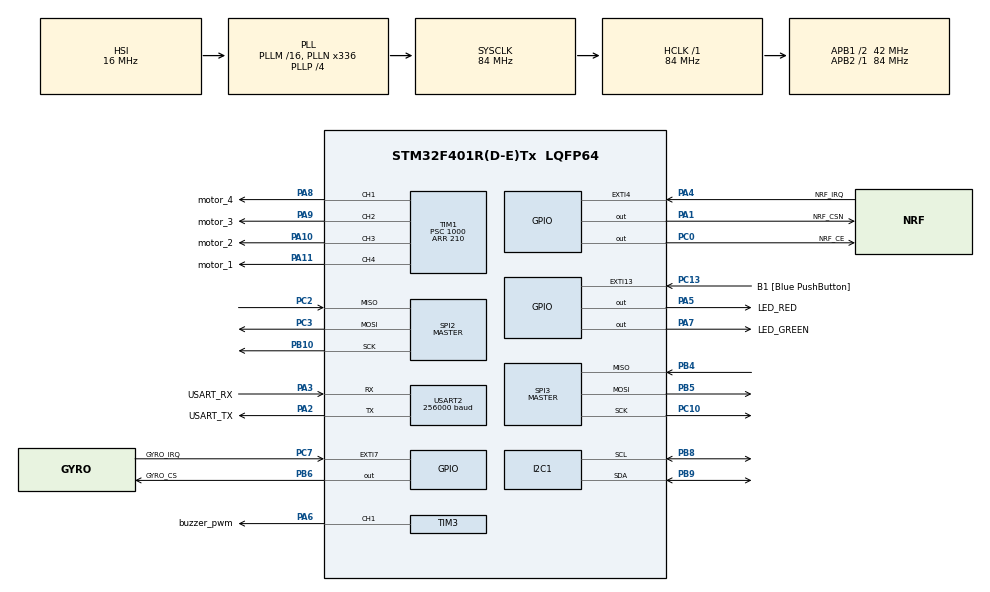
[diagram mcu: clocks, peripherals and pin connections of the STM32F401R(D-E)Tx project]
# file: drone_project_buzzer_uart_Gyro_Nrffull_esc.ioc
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Mcu.Family=STM32F4
Mcu.Name=STM32F401R(D-E)Tx
Mcu.Package=LQFP64
NVIC.EXTI4_IRQn=true\:0\:0\:false\:false\:true\:true\:true\:true
NVIC.EXTI9_5_IRQn=true\:0\:0\:false\:false\:true\:true\:true\:true
NVIC.PriorityGroup=NVIC_PRIORITYGROUP_0
NVIC.USART2_IRQn=true\:0\:0\:false\:false\:true\:true\:true\:true
PA1.GPIO_Label=NRF_CSN
PA1.Signal=GPIO_Output
PA10.GPIO_Label=motor_2
PA10.Signal=S_TIM1_CH3
PA11.GPIO_Label=motor_1
PA11.Signal=S_TIM1_CH4
PA13.GPIO_Label=TMS
PA13.Signal=SYS_JTMS-SWDIO
PA14.GPIO_Label=TCK
PA14.Signal=SYS_JTCK-SWCLK
PA2.GPIO_Label=USART_TX
PA2.GPIO_Mode=GPIO_MODE_AF_PP
PA2.GPIO_PuPd=GPIO_NOPULL
PA2.GPIO_Speed=GPIO_SPEED_FREQ_LOW
PA2.Mode=Asynchronous
PA2.Signal=USART2_TX
PA3.GPIO_Label=USART_RX
PA3.GPIO_Mode=GPIO_MODE_AF_PP
PA3.GPIO_PuPd=GPIO_NOPULL
PA3.GPIO_Speed=GPIO_SPEED_FREQ_LOW
PA3.Mode=Asynchronous
PA3.Signal=USART2_RX
PA4.GPIO_Label=NRF_IRQ
PA4.GPIO_ModeDefaultEXTI=GPIO_MODE_IT_FALLING
PA4.Signal=GPXTI4
PA5.GPIO_Label=LED_RED
PA5.GPIO_Mode=GPIO_MODE_OUTPUT_PP
PA5.GPIO_PuPd=GPIO_NOPULL
PA5.GPIO_Speed=GPIO_SPEED_FREQ_LOW
PA5.Signal=GPIO_Output
PA6.GPIO_Label=buzzer_pwm
PA6.Signal=S_TIM3_CH1
PA7.GPIO_Label=LED_GREEN
PA7.Signal=GPIO_Output
PA8.GPIO_Label=motor_4
PA8.Signal=S_TIM1_CH1
PA9.GPIO_Label=motor_3
PA9.Signal=S_TIM1_CH2
PB10.Mode=Full_Duplex_Master
PB10.Signal=SPI2_SCK
PB3.GPIO_Label=SWO
PB3.Signal=SYS_JTDO-SWO
PB4.Mode=Full_Duplex_Master
PB4.Signal=SPI3_MISO
PB5.Mode=Full_Duplex_Master
PB5.Signal=SPI3_MOSI
PB6.GPIO_Label=GYRO_CS
PB6.GPIO_PuPd=GPIO_NOPULL
PB6.Signal=GPIO_Output
PB8.Mode=I2C
PB8.Signal=I2C1_SCL
PB9.Mode=I2C
PB9.Signal=I2C1_SDA
PC0.GPIO_Label=NRF_CE
PC0.Signal=GPIO_Output
PC10.Mode=Full_Duplex_Master
PC10.Signal=SPI3_SCK
PC13-ANTI_TAMP.GPIO_Label=B1 [Blue PushButton]
PC13-ANTI_TAMP.GPIO_ModeDefaultEXTI=GPIO_MODE_IT_FALLING
PC13-ANTI_TAMP.GPIO_PuPd=GPIO_NOPULL
PC13-ANTI_TAMP.Signal=GPXTI13
PC14-OSC32_IN.Signal=RCC_OSC32_IN
PC15-OSC32_OUT.Signal=RCC_OSC32_OUT
PC2.Mode=Full_Duplex_Master
PC2.Signal=SPI2_MISO
PC3.Mode=Full_Duplex_Master
PC3.Signal=SPI2_MOSI
PC7.GPIO_Label=GYRO_IRQ
PC7.Signal=GPXTI7
PH0\ -\ OSC_IN.Signal=RCC_OSC_IN
PH1\ -\ OSC_OUT.Signal=RCC_OSC_OUT
ProjectManager.HeapSize=0x200
ProjectManager.StackSize=0x400
ProjectManager.TargetToolchain=STM32CubeIDE
RCC.AHBFreq_Value=84000000
RCC.APB1CLKDivider=RCC_HCLK_DIV2
RCC.APB1Freq_Value=42000000
RCC.APB1TimFreq_Value=84000000
RCC.APB2Freq_Value=84000000
RCC.APB2TimFreq_Value=84000000
RCC.CortexFreq_Value=84000000
RCC.HCLKFreq_Value=84000000
RCC.HSE_VALUE=8000000
RCC.HSI_VALUE=16000000
RCC.LSE_VALUE=32768
RCC.PLLN=336
RCC.PLLP=RCC_PLLP_DIV4
RCC.PLLQ=7
RCC.SYSCLKFreq_VALUE=84000000
RCC.SYSCLKSource=RCC_SYSCLKSOURCE_PLLCLK
RCC.VCOOutputFreq_Value=336000000
SH.S_TIM1_CH1.0=TIM1_CH1,PWM Generation1 CH1
SH.S_TIM1_CH2.0=TIM1_CH2,PWM Generation2 CH2
SH.S_TIM1_CH3.0=TIM1_CH3,PWM Generation3 CH3
SH.S_TIM1_CH4.0=TIM1_CH4,PWM Generation4 CH4
SH.S_TIM3_CH1.0=TIM3_CH1,PWM Generation1 CH1
SPI2.BaudRatePrescaler=SPI_BAUDRATEPRESCALER_16
SPI2.Direction=SPI_DIRECTION_2LINES
SPI2.Mode=SPI_MODE_MASTER
SPI2.VirtualType=VM_MASTER
SPI3.BaudRatePrescaler=SPI_BAUDRATEPRESCALER_32
SPI3.Direction=SPI_DIRECTION_2LINES
SPI3.Mode=SPI_MODE_MASTER
SPI3.VirtualType=VM_MASTER
TIM1.AutoReloadPreload=TIM_AUTORELOAD_PRELOAD_ENABLE
TIM1.Channel-PWM\ Generation1\ CH1=TIM_CHANNEL_1
TIM1.Channel-PWM\ Generation2\ CH2=TIM_CHANNEL_2
TIM1.Channel-PWM\ Generation3\ CH3=TIM_CHANNEL_3
TIM1.Channel-PWM\ Generation4\ CH4=TIM_CHANNEL_4
TIM1.Period=210
TIM1.Prescaler=1000
TIM1.Pulse-PWM\ Generation1\ CH1=84
TIM1.Pulse-PWM\ Generation2\ CH2=84
TIM1.Pulse-PWM\ Generation3\ CH3=84
TIM1.Pulse-PWM\ Generation4\ CH4=84
TIM3.AutoReloadPreload=TIM_AUTORELOAD_PRELOAD_ENABLE
TIM3.Channel-PWM\ Generation1\ CH1=TIM_CHANNEL_1
TIM3.Period=21
TIM3.Prescaler=999
TIM3.Pulse-PWM\ Generation1\ CH1=11
USART2.BaudRate=256000
USART2.VirtualMode=VM_ASYNC
VP_TIM1_VS_ClockSourceINT.Mode=Internal
VP_TIM3_VS_ClockSourceINT.Mode=Internal
board=NUCLEO-F401RE

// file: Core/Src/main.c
/* USER CODE BEGIN Header */
/**
  ******************************************************************************
  * @file           : main.c
  * @brief          : Main program body
  ******************************************************************************
  * @attention
  *
  * Copyright (c) 2024 STMicroelectronics.
  * All rights reserved.
  *
  * This software is licensed under terms that can be found in the LICENSE file
  * in the root directory of this software component.
  * If no LICENSE file comes with this software, it is provided AS-IS.
  *
  ******************************************************************************
  */
/* USER CODE END Header */
#include "main.h"
#include "i2c.h"
#include "spi.h"
#include "tim.h"
#include "usart.h"
#include "gpio.h"

/* USER CODE BEGIN Includes */
#include <stdio.h>
#include "mpu6500.h"
#include "nrf24l01.h"
#include "fc.h"
//#define TRANSMITTER or RECEIVER
#define RECEIVER

/* USER CODE END Includes */

/* USER CODE BEGIN PV */
uint16_t usart_data_req = 0 ;
uint8_t usart_rx_data  = 0;
uint8_t mpu_update = 0;
uint8_t Transmitter_Rx_flag = 0;
uint8_t RxNumber = 10;
uint16_t RxBuffer[NRF24L01_PAYLOAD_LENGTH /2] = { 0};

float gx, gy, gz ;
float ax, ay, az ;

uint16_t throttle = 0, yaw = 0, pitch = 0, roll = 0;

/* USER CODE END PV */

void SystemClock_Config(void);
/* USER CODE BEGIN PFP */

void Custom_GPIO_EXTI_Callback(uint16_t GPIO_Pin);

/* USER CODE END PFP */

/* USER CODE BEGIN 0 */

int __io_putchar(int ch){
	while( !(LL_USART_IsActiveFlag_TXE(USART2))) ;
    LL_USART_TransmitData8(USART2, ch) ;
    return ch ;
}

void Custom_GPIO_EXTI_Callback(uint16_t GPIO_Pin) {
	if(GPIO_Pin == NRF_IRQ_Pin)
	{
		Transmitter_Rx_flag =1;
		NRF24L01_RxReceive((uint8_t *)RxBuffer, &RxNumber, 2000);

	}
}

/* USER CODE END 0 */

int main(void)
{

  /* MCU Configuration--------------------------------------------------------*/

  /* Reset of all peripherals, Initializes the Flash interface and the Systick. */
  HAL_Init();

  /* Configure the system clock */
  SystemClock_Config();

  /* Initialize all configured peripherals */
  MX_GPIO_Init();
  MX_SPI2_Init();
  MX_I2C1_Init();
  MX_SPI3_Init();
  MX_TIM1_Init();
  MX_TIM3_Init();
  MX_USART2_UART_Init();
  /* USER CODE BEGIN 2 */
  LL_USART_EnableIT_RXNE(USART2) ;
  BUZZER_POWER_UP(1)
  HAL_Delay(100) ;
  mpu_init(SPI3 , GFS_2000DPS ,AFS_16G) ;
  calib_mpu() ;
  _blink_lights(1)
  _wireless_setup(1)
//  _esc_setup_(1)

  LL_TIM_EnableCounter(TIM1) ;
	TIM1->BDTR |= (1 << 15);

//	LL_TIM_OC_SetCompareCH1(TIM1, 164) ;
//	LL_TIM_OC_SetCompareCH2(TIM1, 164) ;
//	LL_TIM_OC_SetCompareCH3(TIM1, 164) ;
//	LL_TIM_OC_SetCompareCH4(TIM1, 164) ;

	LL_TIM_CC_EnableChannel(TIM1, LL_TIM_CHANNEL_CH1) ;
	LL_TIM_CC_EnableChannel(TIM1, LL_TIM_CHANNEL_CH2) ;
	LL_TIM_CC_EnableChannel(TIM1, LL_TIM_CHANNEL_CH3) ;
	LL_TIM_CC_EnableChannel(TIM1, LL_TIM_CHANNEL_CH4) ;

//	for (int i = 164; i > 83; i-- ) {
//		LL_TIM_OC_SetCompareCH1(TIM1, i) ;
//		LL_TIM_OC_SetCompareCH2(TIM1, i) ;
//		LL_TIM_OC_SetCompareCH3(TIM1, i) ;
//		LL_TIM_OC_SetCompareCH4(TIM1, i) ;
//		HAL_Delay(20) ;
//	}

//	LL_TIM_CC_DisableChannel(TIM1, LL_TIM_CHANNEL_CH1) ;
//	LL_TIM_CC_DisableChannel(TIM1, LL_TIM_CHANNEL_CH2) ;
//	LL_TIM_CC_DisableChannel(TIM1, LL_TIM_CHANNEL_CH3) ;
//	LL_TIM_CC_DisableChannel(TIM1, LL_TIM_CHANNEL_CH4) ;
//
//	    LL_TIM_OC_SetCompareCH1(TIM1, 100) ;
//		LL_TIM_OC_SetCompareCH2(TIM1, 100) ;
//		LL_TIM_OC_SetCompareCH3(TIM1, 100) ;
//		LL_TIM_OC_SetCompareCH4(TIM1, 100) ;
//
//
//	LL_TIM_CC_EnableChannel(TIM1, LL_TIM_CHANNEL_CH1) ;
//	LL_TIM_CC_EnableChannel(TIM1, LL_TIM_CHANNEL_CH2) ;
//	LL_TIM_CC_EnableChannel(TIM1, LL_TIM_CHANNEL_CH3) ;
//	LL_TIM_CC_EnableChannel(TIM1, LL_TIM_CHANNEL_CH4) ;

	/* USER CODE END 2 */

  /* Infinite loop */
  while (1)
  {

    /* USER CODE BEGIN 3 */

	  if (usart_data_req == 1 ) {
		usart_data_req = 0  ;
		usart_rx_data = LL_USART_ReceiveData8(USART2);
        LL_USART_TransmitData8(USART2, usart_rx_data) ;

        switch (usart_rx_data) {
			case '0':
		         LL_GPIO_TogglePin(LED_RED_GPIO_Port, LED_RED_Pin | LED_GREEN_Pin);
				break;
			case '1':
				 LL_TIM_CC_EnableChannel(TIM3, LL_TIM_CHANNEL_CH1);
				break;
			case '2':
				 LL_TIM_CC_DisableChannel(TIM3, LL_TIM_CHANNEL_CH1);
				break;
       }
	}

	if (mpu_update == 1) {
		mpu_update = 0 ;
		readSensor() ;
		getGyro(&gx, &gy, &gz) ;
		getAccel(&ax, &ay, &az) ;
	}

  if (Transmitter_Rx_flag == 1) {
	  throttle = RxBuffer[0] ;
	  roll = RxBuffer[1] ;
	  yaw = RxBuffer[2] ;
	  pitch = RxBuffer[3] ;
	  Transmitter_Rx_flag = 0;
   }
	  printf("throttle %d  , yaw %d  , pitch %d  , roll %d   \n"  , throttle , yaw , pitch , roll ) ;
//  	  printf("x :  %f  , y :  %f  , z :  %f  \n"  , gx , gy , gz  ) ;

  }

  /* USER CODE END 3 */
}

void SystemClock_Config(void)
{
  RCC_OscInitTypeDef RCC_OscInitStruct = {0};
  RCC_ClkInitTypeDef RCC_ClkInitStruct = {0};

  /** Configure the main internal regulator output voltage
  */
  __HAL_RCC_PWR_CLK_ENABLE();
  __HAL_PWR_VOLTAGESCALING_CONFIG(PWR_REGULATOR_VOLTAGE_SCALE2);

  /** Initializes the RCC Oscillators according to the specified parameters
  * in the RCC_OscInitTypeDef structure.
  */
  RCC_OscInitStruct.OscillatorType = RCC_OSCILLATORTYPE_HSI;
  RCC_OscInitStruct.HSIState = RCC_HSI_ON;
  RCC_OscInitStruct.HSICalibrationValue = RCC_HSICALIBRATION_DEFAULT;
  RCC_OscInitStruct.PLL.PLLState = RCC_PLL_ON;
  RCC_OscInitStruct.PLL.PLLSource = RCC_PLLSOURCE_HSI;
  RCC_OscInitStruct.PLL.PLLM = 16;
  RCC_OscInitStruct.PLL.PLLN = 336;
  RCC_OscInitStruct.PLL.PLLP = RCC_PLLP_DIV4;
  RCC_OscInitStruct.PLL.PLLQ = 7;
  if (HAL_RCC_OscConfig(&RCC_OscInitStruct) != HAL_OK)
  {
    Error_Handler();
  }

  /** Initializes the CPU, AHB and APB buses clocks
  */
  RCC_ClkInitStruct.ClockType = RCC_CLOCKTYPE_HCLK|RCC_CLOCKTYPE_SYSCLK
                              |RCC_CLOCKTYPE_PCLK1|RCC_CLOCKTYPE_PCLK2;
  RCC_ClkInitStruct.SYSCLKSource = RCC_SYSCLKSOURCE_PLLCLK;
  RCC_ClkInitStruct.AHBCLKDivider = RCC_SYSCLK_DIV1;
  RCC_ClkInitStruct.APB1CLKDivider = RCC_HCLK_DIV2;
  RCC_ClkInitStruct.APB2CLKDivider = RCC_HCLK_DIV1;

  if (HAL_RCC_ClockConfig(&RCC_ClkInitStruct, FLASH_LATENCY_2) != HAL_OK)
  {
    Error_Handler();
  }
}

void Error_Handler(void)
{
  __disable_irq();
  while (1)
  {
  }
}
